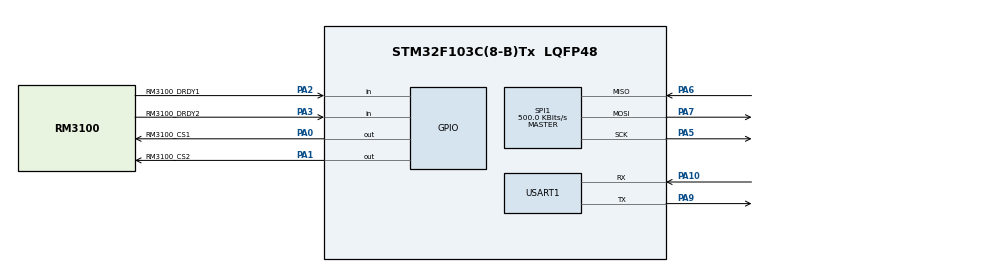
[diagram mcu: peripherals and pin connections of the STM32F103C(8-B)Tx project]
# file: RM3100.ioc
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Mcu.Family=STM32F1
Mcu.Name=STM32F103C(8-B)Tx
Mcu.Package=LQFP48
NVIC.PriorityGroup=NVIC_PRIORITYGROUP_4
PA0-WKUP.GPIO_Label=RM3100_CS1
PA0-WKUP.Signal=GPIO_Output
PA1.GPIO_Label=RM3100_CS2
PA1.Signal=GPIO_Output
PA10.Mode=Asynchronous
PA10.Signal=USART1_RX
PA13.Mode=Serial_Wire
PA13.Signal=SYS_JTMS-SWDIO
PA14.Mode=Serial_Wire
PA14.Signal=SYS_JTCK-SWCLK
PA2.GPIO_Label=RM3100_DRDY1
PA2.Signal=GPIO_Input
PA3.GPIO_Label=RM3100_DRDY2
PA3.Signal=GPIO_Input
PA5.Mode=Full_Duplex_Master
PA5.Signal=SPI1_SCK
PA6.Mode=Full_Duplex_Master
PA6.Signal=SPI1_MISO
PA7.Mode=Full_Duplex_Master
PA7.Signal=SPI1_MOSI
PA9.Mode=Asynchronous
PA9.Signal=USART1_TX
ProjectManager.HeapSize=0x200
ProjectManager.StackSize=0x400
ProjectManager.TargetToolchain=STM32CubeIDE
RCC.APB1Freq_Value=8000000
RCC.APB2Freq_Value=8000000
SPI1.BaudRatePrescaler=SPI_BAUDRATEPRESCALER_16
SPI1.CalculateBaudRate=500.0 KBits/s
SPI1.CLKPhase=SPI_PHASE_1EDGE
SPI1.CLKPolarity=SPI_POLARITY_LOW
SPI1.DataSize=SPI_DATASIZE_8BIT
SPI1.FirstBit=SPI_FIRSTBIT_MSB
SPI1.Direction=SPI_DIRECTION_2LINES
SPI1.Mode=SPI_MODE_MASTER
SPI1.VirtualType=VM_MASTER
USART1.VirtualMode=VM_ASYNC
board=custom

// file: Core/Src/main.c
/* USER CODE BEGIN Header */
/**
  ******************************************************************************
  * @file           : main.c
  * @brief          : Main program body
  ******************************************************************************
  * @attention
  *
  * Copyright (c) 2026 STMicroelectronics.
  * All rights reserved.
  *
  * This software is licensed under terms that can be found in the LICENSE file
  * in the root directory of this software component.
  * If no LICENSE file comes with this software, it is provided AS-IS.
  *
  ******************************************************************************
  */
/* USER CODE END Header */
#include "main.h"

/* USER CODE BEGIN Includes */
#include "rm3100.h"
#include <stdio.h>

/* USER CODE END Includes */

SPI_HandleTypeDef hspi1;

UART_HandleTypeDef huart1;

/* USER CODE BEGIN PV */
static RM3100_t rm3100[2] = {
  {RM3100_CS1_GPIO_Port, RM3100_CS1_Pin,
   RM3100_DRDY1_GPIO_Port, RM3100_DRDY1_Pin, 200U},
  {RM3100_CS2_GPIO_Port, RM3100_CS2_Pin,
   RM3100_DRDY2_GPIO_Port, RM3100_DRDY2_Pin, 200U}
};
static uint32_t sample_seq = 0U;
static uint32_t boot_reset_csr = 0U;

/* USER CODE END PV */

void SystemClock_Config(void);
static void MX_GPIO_Init(void);
static void MX_SPI1_Init(void);
static void MX_USART1_UART_Init(void);
/* USER CODE BEGIN PFP */
static void DWT_MicrosInit(void);
static uint32_t Micros(void);
static void SendSample(uint32_t seq, uint32_t t1, uint32_t t2,
                       uint8_t ready_mask,
                       const RM3100_Vector_t *v1,
                       const RM3100_Vector_t *v2);
static void SendDebugInit(uint8_t sensor, HAL_StatusTypeDef status);

/* USER CODE END PFP */

/* USER CODE BEGIN 0 */

/* 调试信息使用 DBG 前缀，不会被电脑端 RM, 数据帧解析。 */
static void SendDebugInit(uint8_t sensor, HAL_StatusTypeDef status)
{
  const RM3100_t *s = &rm3100[sensor - 1U];
  char text[128];
  int length = snprintf(text, sizeof(text),
                        "DBG,INIT%u,HAL=%u,SPIERR=0x%08lX,CS=%u,DRDY=%u\r\n",
                        (unsigned)sensor, (unsigned)status,
                        (unsigned long)hspi1.ErrorCode,
                        (unsigned)HAL_GPIO_ReadPin(s->cs_port, s->cs_pin),
                        (unsigned)HAL_GPIO_ReadPin(s->drdy_port, s->drdy_pin));
  if (length > 0 && (size_t)length < sizeof(text))
    (void)HAL_UART_Transmit(&huart1, (uint8_t *)text,
                            (uint16_t)length, 100U);
}

/* USER CODE END 0 */

int main(void)
{

  /* 保存复位来源后再清标志，便于区分上电、NRST 和软件/看门狗复位。 */
  boot_reset_csr = RCC->CSR;
  __HAL_RCC_CLEAR_RESET_FLAGS();

  /* MCU Configuration--------------------------------------------------------*/

  /* Reset of all peripherals, Initializes the Flash interface and the Systick. */
  HAL_Init();

  /* Configure the system clock */
  SystemClock_Config();

  /* Initialize all configured peripherals */
  MX_GPIO_Init();
  MX_SPI1_Init();
  MX_USART1_UART_Init();
  /* USER CODE BEGIN 2 */
  DWT_MicrosInit();
  HAL_Delay(10U);
  {
    HAL_StatusTypeDef init2 = RM3100_Init(&hspi1, &rm3100[1], 200U);

    SendDebugInit(2U, init2);

    if (init2 != HAL_OK)
    {
      static const uint8_t err[] = "ERR,RM3100_INIT2\r\n";
      (void)HAL_UART_Transmit(&huart1, (uint8_t *)err, sizeof(err) - 1U, 100U);
      Error_Handler();
    }
  }
  {
    static const uint8_t banner[] = "RM3100,1,raw24,us\r\n";
    char boot_info[32];
    int boot_len = snprintf(boot_info, sizeof(boot_info),
                            "BOOT,CSR=0x%08lX\r\n",
                            (unsigned long)boot_reset_csr);
    if (boot_len > 0 && (size_t)boot_len < sizeof(boot_info))
      (void)HAL_UART_Transmit(&huart1, (uint8_t *)boot_info,
                              (uint16_t)boot_len, 100U);
    (void)HAL_UART_Transmit(&huart1, (uint8_t *)banner,
                            sizeof(banner) - 1U, 100U);
  }
  /* USER CODE END 2 */

  /* Infinite loop */
  while (1)
  {

    /* USER CODE BEGIN 3 */
    RM3100_Vector_t v1 = {0, 0, 0};
    RM3100_Vector_t v2 = {0, 0, 0};
    uint8_t ready_mask = 0U;
    uint32_t trigger2_us;

    trigger2_us = Micros();
    if (RM3100_StartSingle(&hspi1, &rm3100[1]) != HAL_OK) Error_Handler();

    if (RM3100_WaitReady(&rm3100[1], 100U) == HAL_OK &&
        RM3100_ReadXYZ(&hspi1, &rm3100[1], &v2) == HAL_OK)
      ready_mask |= 0x02U;

    SendSample(sample_seq++, 0U, trigger2_us,
               ready_mask, &v1, &v2);
  }
  /* USER CODE END 3 */
}

void SystemClock_Config(void)
{
  RCC_OscInitTypeDef RCC_OscInitStruct = {0};
  RCC_ClkInitTypeDef RCC_ClkInitStruct = {0};

  /** Initializes the RCC Oscillators according to the specified parameters
  * in the RCC_OscInitTypeDef structure.
  */
  RCC_OscInitStruct.OscillatorType = RCC_OSCILLATORTYPE_HSI;
  RCC_OscInitStruct.HSIState = RCC_HSI_ON;
  RCC_OscInitStruct.HSICalibrationValue = RCC_HSICALIBRATION_DEFAULT;
  RCC_OscInitStruct.PLL.PLLState = RCC_PLL_NONE;
  if (HAL_RCC_OscConfig(&RCC_OscInitStruct) != HAL_OK)
  {
    Error_Handler();
  }

  /** Initializes the CPU, AHB and APB buses clocks
  */
  RCC_ClkInitStruct.ClockType = RCC_CLOCKTYPE_HCLK|RCC_CLOCKTYPE_SYSCLK
                              |RCC_CLOCKTYPE_PCLK1|RCC_CLOCKTYPE_PCLK2;
  RCC_ClkInitStruct.SYSCLKSource = RCC_SYSCLKSOURCE_HSI;
  RCC_ClkInitStruct.AHBCLKDivider = RCC_SYSCLK_DIV1;
  RCC_ClkInitStruct.APB1CLKDivider = RCC_HCLK_DIV1;
  RCC_ClkInitStruct.APB2CLKDivider = RCC_HCLK_DIV1;

  if (HAL_RCC_ClockConfig(&RCC_ClkInitStruct, FLASH_LATENCY_0) != HAL_OK)
  {
    Error_Handler();
  }
}

static void MX_SPI1_Init(void)
{

  /* SPI1 parameter configuration*/
  hspi1.Instance = SPI1;
  hspi1.Init.Mode = SPI_MODE_MASTER;
  hspi1.Init.Direction = SPI_DIRECTION_2LINES;
  hspi1.Init.DataSize = SPI_DATASIZE_8BIT;
  hspi1.Init.CLKPolarity = SPI_POLARITY_LOW;
  hspi1.Init.CLKPhase = SPI_PHASE_1EDGE;
  hspi1.Init.NSS = SPI_NSS_SOFT;
  hspi1.Init.BaudRatePrescaler = SPI_BAUDRATEPRESCALER_16;
  hspi1.Init.FirstBit = SPI_FIRSTBIT_MSB;
  hspi1.Init.TIMode = SPI_TIMODE_DISABLE;
  hspi1.Init.CRCCalculation = SPI_CRCCALCULATION_DISABLE;
  hspi1.Init.CRCPolynomial = 10;
  if (HAL_SPI_Init(&hspi1) != HAL_OK)
  {
    Error_Handler();
  }

}

static void MX_USART1_UART_Init(void)
{

  huart1.Instance = USART1;
  huart1.Init.BaudRate = 115200;
  huart1.Init.WordLength = UART_WORDLENGTH_8B;
  huart1.Init.StopBits = UART_STOPBITS_1;
  huart1.Init.Parity = UART_PARITY_NONE;
  huart1.Init.Mode = UART_MODE_TX_RX;
  huart1.Init.HwFlowCtl = UART_HWCONTROL_NONE;
  huart1.Init.OverSampling = UART_OVERSAMPLING_16;
  if (HAL_UART_Init(&huart1) != HAL_OK)
  {
    Error_Handler();
  }

}

static void MX_GPIO_Init(void)
{
  GPIO_InitTypeDef GPIO_InitStruct = {0};

  /* GPIO Ports Clock Enable */
  __HAL_RCC_GPIOA_CLK_ENABLE();

  /*Configure GPIO pin Output Level */
  HAL_GPIO_WritePin(GPIOA, RM3100_CS1_Pin|RM3100_CS2_Pin, GPIO_PIN_SET);

  /*Configure GPIO pins : RM3100_CS1_Pin RM3100_CS2_Pin */
  GPIO_InitStruct.Pin = RM3100_CS1_Pin|RM3100_CS2_Pin;
  GPIO_InitStruct.Mode = GPIO_MODE_OUTPUT_PP;
  GPIO_InitStruct.Pull = GPIO_NOPULL;
  GPIO_InitStruct.Speed = GPIO_SPEED_FREQ_LOW;
  HAL_GPIO_Init(GPIOA, &GPIO_InitStruct);

  /*Configure GPIO pins : RM3100_DRDY1_Pin RM3100_DRDY2_Pin */
  GPIO_InitStruct.Pin = RM3100_DRDY1_Pin|RM3100_DRDY2_Pin;
  GPIO_InitStruct.Mode = GPIO_MODE_INPUT;
  GPIO_InitStruct.Pull = GPIO_NOPULL;
  HAL_GPIO_Init(GPIOA, &GPIO_InitStruct);

}

/* USER CODE BEGIN 4 */
static void DWT_MicrosInit(void)
{
  CoreDebug->DEMCR |= CoreDebug_DEMCR_TRCENA_Msk;
  DWT->CYCCNT = 0U;
  DWT->CTRL |= DWT_CTRL_CYCCNTENA_Msk;
}

static uint32_t Micros(void)
{
  return DWT->CYCCNT / (HAL_RCC_GetHCLKFreq() / 1000000U);
}

static void SendSample(uint32_t seq, uint32_t t1, uint32_t t2,
                       uint8_t ready_mask,
                       const RM3100_Vector_t *v1,
                       const RM3100_Vector_t *v2)
{
  char payload[128];
  char frame[140];
  int length;
  uint8_t checksum = 0U;

  length = snprintf(payload, sizeof(payload), "RM,%lu,%lu,%lu,%u,"
                    "%ld,%ld,%ld,%ld,%ld,%ld",
                    (unsigned long)seq, (unsigned long)t1, (unsigned long)t2,
                    (unsigned)ready_mask,
                    (ready_mask & 0x01U) ? (long)v1->x : 0L,
                    (ready_mask & 0x01U) ? (long)v1->y : 0L,
                    (ready_mask & 0x01U) ? (long)v1->z : 0L,
                    (ready_mask & 0x02U) ? (long)v2->x : 0L,
                    (ready_mask & 0x02U) ? (long)v2->y : 0L,
                    (ready_mask & 0x02U) ? (long)v2->z : 0L);
  if (length <= 0 || (size_t)length >= sizeof(payload)) return;
  for (int i = 0; i < length; ++i) checksum ^= (uint8_t)payload[i];
  int frame_length = snprintf(frame, sizeof(frame), "%s*%02X\r\n",
                              payload, checksum);
  if (frame_length > 0 && (size_t)frame_length < sizeof(frame))
    (void)HAL_UART_Transmit(&huart1, (uint8_t *)frame,
                            (uint16_t)frame_length, 100U);
}
/* USER CODE END 4 */

void Error_Handler(void)
{
  __disable_irq();
  while (1)
  {
  }
}
